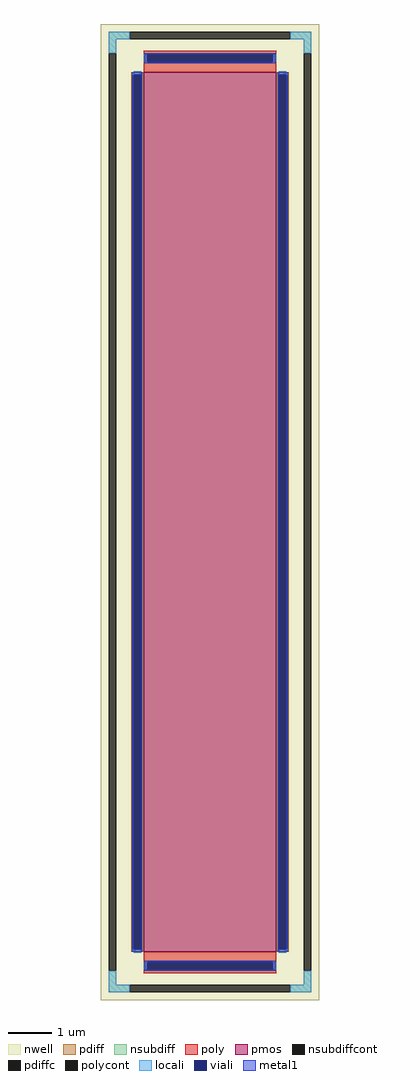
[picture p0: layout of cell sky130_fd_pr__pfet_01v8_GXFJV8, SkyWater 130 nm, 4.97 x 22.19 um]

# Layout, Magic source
magic
tech sky130A
magscale 1 2
<< nwell >>
rect -497 -2219 497 2219
<< pmos >>
rect -301 -2000 301 2000
<< pdiff >>
rect -359 1988 -301 2000
rect -359 -1988 -347 1988
rect -313 -1988 -301 1988
rect -359 -2000 -301 -1988
rect 301 1988 359 2000
rect 301 -1988 313 1988
rect 347 -1988 359 1988
rect 301 -2000 359 -1988
<< pdiffc >>
rect -347 -1988 -313 1988
rect 313 -1988 347 1988
<< nsubdiff >>
rect -461 2149 -365 2183
rect 365 2149 461 2183
rect -461 2087 -427 2149
rect 427 2087 461 2149
rect -461 -2149 -427 -2087
rect 427 -2149 461 -2087
rect -461 -2183 -365 -2149
rect 365 -2183 461 -2149
<< nsubdiffcont >>
rect -365 2149 365 2183
rect -461 -2087 -427 2087
rect 427 -2087 461 2087
rect -365 -2183 365 -2149
<< poly >>
rect -301 2081 301 2097
rect -301 2047 -285 2081
rect 285 2047 301 2081
rect -301 2000 301 2047
rect -301 -2047 301 -2000
rect -301 -2081 -285 -2047
rect 285 -2081 301 -2047
rect -301 -2097 301 -2081
<< polycont >>
rect -285 2047 285 2081
rect -285 -2081 285 -2047
<< locali >>
rect -461 2149 -365 2183
rect 365 2149 461 2183
rect -461 2087 -427 2149
rect 427 2087 461 2149
rect -301 2047 -285 2081
rect 285 2047 301 2081
rect -347 1988 -313 2004
rect -347 -2004 -313 -1988
rect 313 1988 347 2004
rect 313 -2004 347 -1988
rect -301 -2081 -285 -2047
rect 285 -2081 301 -2047
rect -461 -2149 -427 -2087
rect 427 -2149 461 -2087
rect -461 -2183 -365 -2149
rect 365 -2183 461 -2149
<< viali >>
rect -285 2047 285 2081
rect -347 -1988 -313 1988
rect 313 -1988 347 1988
rect -285 -2081 285 -2047
<< metal1 >>
rect -297 2081 297 2087
rect -297 2047 -285 2081
rect 285 2047 297 2081
rect -297 2041 297 2047
rect -353 1988 -307 2000
rect -353 -1988 -347 1988
rect -313 -1988 -307 1988
rect -353 -2000 -307 -1988
rect 307 1988 353 2000
rect 307 -1988 313 1988
rect 347 -1988 353 1988
rect 307 -2000 353 -1988
rect -297 -2047 297 -2041
rect -297 -2081 -285 -2047
rect 285 -2081 297 -2047
rect -297 -2087 297 -2081
<< properties >>
string FIXED_BBOX -444 -2166 444 2166
string gencell sky130_fd_pr__pfet_01v8
string library sky130
string parameters w 20 l 3.005 m 1 nf 1 diffcov 100 polycov 100 guard 1 glc 1 grc 1 gtc 1 gbc 1 tbcov 100 rlcov 100 topc 1 botc 1 poverlap 0 doverlap 1 lmin 0.15 wmin 0.42 compatible {sky130_fd_pr__pfet_01v8  sky130_fd_pr__pfet_01v8_lvt sky130_fd_pr__pfet_01v8_hvt  sky130_fd_pr__pfet_g5v0d10v5} full_metal 1 viasrc 100 viadrn 100 viagate 100 viagb 0 viagr 0 viagl 0 viagt 0
<< end >>
